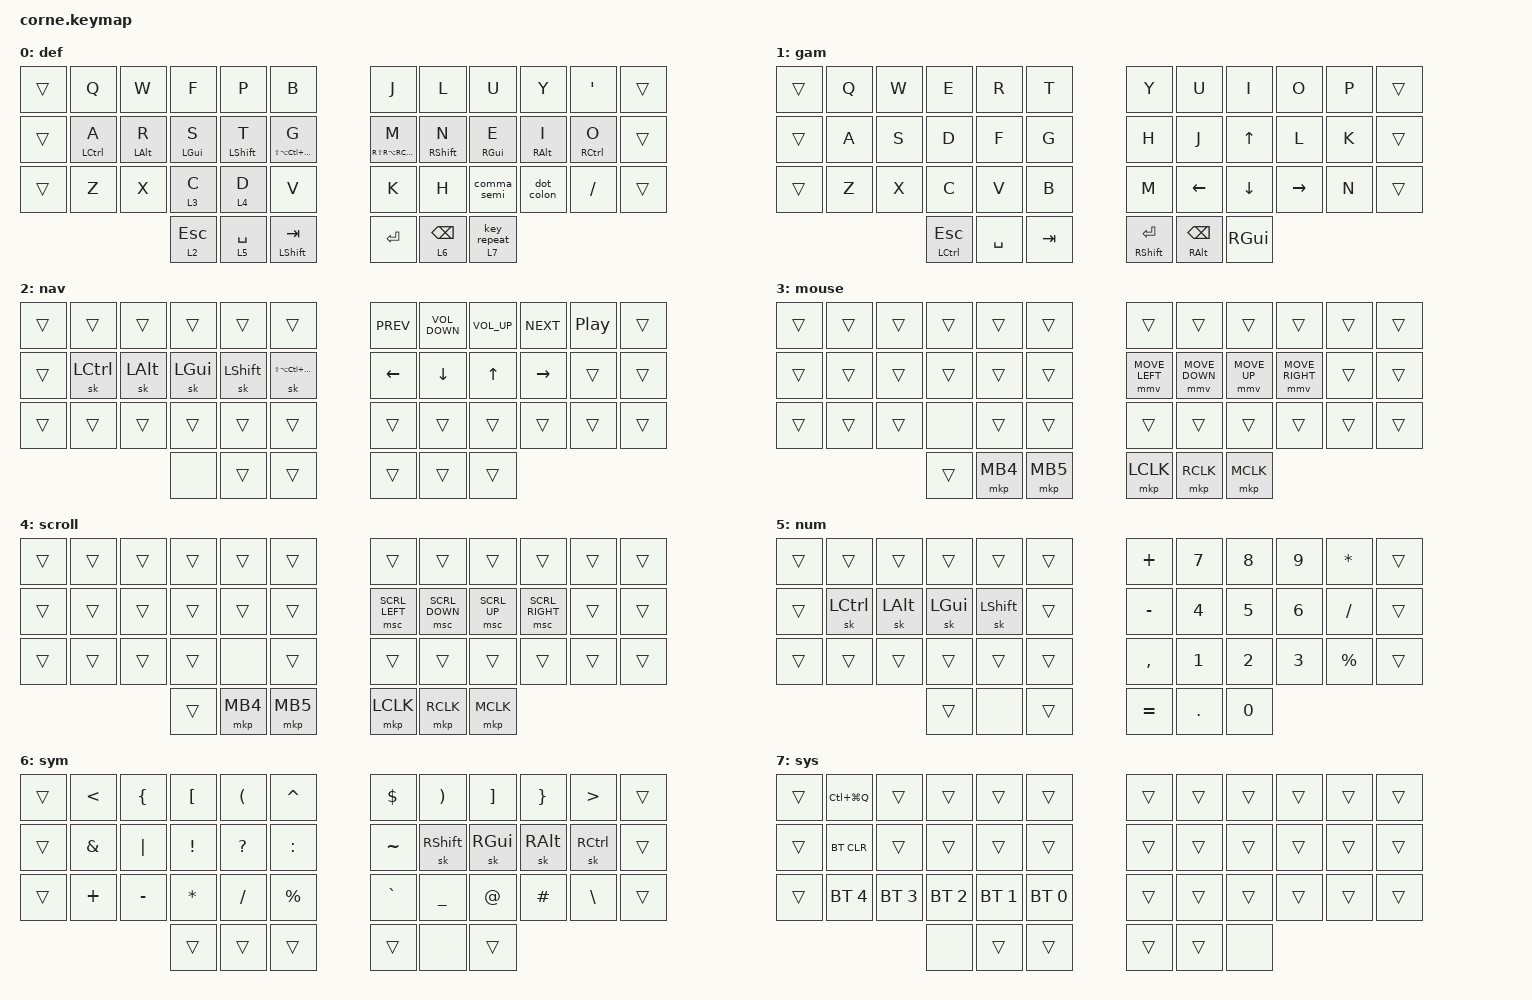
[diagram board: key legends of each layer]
/*
 * Copyright (c) 2020 The ZMK Contributors
 *
 * SPDX-License-Identifier: MIT
 */

#define ZMK_POINTING_DEFAULT_MOVE_VAL 2000
#define ZMK_POINTING_DEFAULT_SCRL_VAL 12

#include <behaviors.dtsi>
#include <dt-bindings/zmk/bt.h>
#include <dt-bindings/zmk/keys.h>
#include <dt-bindings/zmk/pointing.h>

&sk {
    release-after-ms = <900>;
    quick-release;
};

&sl { ignore-modifiers; };

&lt {
    flavor = "balanced";
    tapping-term-ms = <200>;
    quick-tap-ms = <175>;
};

&mmv {
    x-input-code = <INPUT_REL_X>;
    y-input-code = <INPUT_REL_Y>;
    time-to-max-speed-ms = <500>;
    acceleration-exponent = <1>;
};

/ {
    combos {
        compatible = "zmk,combos";

        capsword {
            bindings = <&caps_word>;
            key-positions = <16 19>;
            layers = <0>;
            timeout-ms = <24>;
            require-prior-idle-ms = <150>;
        };

        toggle_gam {
            bindings = <&tog 1>;
            key-positions = <37 40>;
            layers = <0 1>;
            timeout-ms = <24>;
            require-prior-idle-ms = <150>;
        };

        undo {
            bindings = <&kp LG(Z)>;
            key-positions = <25 26>;
            timeout-ms = <24>;
            require-prior-idle-ms = <150>;
            layers = <0>;
        };

        copy {
            bindings = <&kp LG(C)>;
            key-positions = <26 27>;
            timeout-ms = <24>;
            require-prior-idle-ms = <150>;
            layers = <0>;
        };

        paste {
            bindings = <&kp LG(V)>;
            key-positions = <28 27>;
            require-prior-idle-ms = <150>;
            layers = <0>;
            timeout-ms = <24>;
        };

        cut {
            bindings = <&kp LG(X)>;
            key-positions = <28 26>;
            timeout-ms = <24>;
            require-prior-idle-ms = <150>;
            layers = <0>;
        };
    };

    behaviors {
        hml: hml {
            compatible = "zmk,behavior-hold-tap";
            label = "Home row mod (left hand)";
            bindings = <&kp>, <&kp>;

            #binding-cells = <2>;
            tapping-term-ms = <280>;
            quick-tap-ms = <175>;
            require-prior-idle-ms = <150>;
            flavor = "balanced";
            hold-trigger-key-positions = <6 7 8 9 10 11 18 19 20 21 22 23 30 31 32 33 34 35 36 37 38 39 40 41>;
            hold-trigger-on-release;
        };

        hmr: hmr {
            compatible = "zmk,behavior-hold-tap";
            label = "Home row mod (right hand)";
            bindings = <&kp>, <&kp>;

            #binding-cells = <2>;
            tapping-term-ms = <280>;
            quick-tap-ms = <175>;
            require-prior-idle-ms = <150>;
            flavor = "balanced";
            hold-trigger-key-positions = <0 1 2 3 4 5 12 13 14 15 16 17 24 25 26 27 28 29 36 37 38 39 40 41>;
            hold-trigger-on-release;
        };

        comma_semi: comma_semi {
            compatible = "zmk,behavior-mod-morph";
            label = "COMMA_SEMI";
            bindings = <&kp COMMA>, <&kp SEMI>;

            #binding-cells = <0>;
            mods = <(MOD_LSFT|MOD_RSFT)>;
        };

        dot_colon: dot_colon {
            compatible = "zmk,behavior-mod-morph";
            label = "DOT_COLON";
            bindings = <&kp DOT>, <&kp COLON>;

            #binding-cells = <0>;
            mods = <(MOD_LSFT|MOD_RSFT)>;
        };

        mo_repeat: mo_repeat {
            compatible = "zmk,behavior-hold-tap";
            label = "MO_REPEAT";
            bindings = <&mo>, <&key_repeat>;

            #binding-cells = <2>;
            tapping-term-ms = <200>;
            quick-tap-ms = <175>;
            flavor = "balanced";
        };

        hmls: hmls {
            compatible = "zmk,behavior-hold-tap";
            label = "Home row mod (shift only, left hand)";
            bindings = <&kp>, <&kp>;

            #binding-cells = <2>;
            tapping-term-ms = <200>;
            quick-tap-ms = <175>;
            require-prior-idle-ms = <140>;
            flavor = "balanced";
            hold-trigger-key-positions = <6 7 8 9 10 11 18 19 20 21 22 23 30 31 32 33 34 35 36 37 38 39 40 41>;
            hold-trigger-on-release;
        };

        hmrs: hmrs {
            compatible = "zmk,behavior-hold-tap";
            label = "Home row mod (shift only, right hand)";
            bindings = <&kp>, <&kp>;

            #binding-cells = <2>;
            tapping-term-ms = <200>;
            quick-tap-ms = <175>;
            require-prior-idle-ms = <140>;
            flavor = "balanced";
            hold-trigger-key-positions = <0 1 2 3 4 5 12 13 14 15 16 17 24 25 26 27 28 29 36 37 38 39 40 41>;
            hold-trigger-on-release;
        };
    };

    keymap {
        compatible = "zmk,keymap";

        def {
            label = "def";
            bindings = <
&trans  &kp Q         &kp W        &kp F        &kp P           &kp B                          &kp J                        &kp L            &kp U           &kp Y        &kp SINGLE_QUOTE  &trans
&trans  &hml LCTRL A  &hml LALT R  &hml LGUI S  &hmls LSHIFT T  &hml LS(LA(LC(LG(LGUI)))) G    &hmr RS(RA(RC(RG(RGUI)))) M  &hmrs RSHFT N    &hmr RGUI E     &hmr RALT I  &hmr RCTRL O      &trans
&trans  &kp Z         &kp X        &lt 3 C      &lt 4 D         &kp V                          &kp K                        &kp H            &comma_semi     &dot_colon   &kp SLASH         &trans
                                   &lt 2 ESC    &lt 5 SPACE     &mt LSHIFT TAB                 &kp ENTER                    &lt 6 BACKSPACE  &mo_repeat 7 0
            >;
        };

        gam {
            label = "gam";
            bindings = <
&trans  &kp Q  &kp W  &kp E          &kp R      &kp T      &kp Y             &kp U               &kp I     &kp O      &kp P  &trans
&trans  &kp A  &kp S  &kp D          &kp F      &kp G      &kp H             &kp J               &kp UP    &kp L      &kp K  &trans
&trans  &kp Z  &kp X  &kp C          &kp V      &kp B      &kp M             &kp LEFT            &kp DOWN  &kp RIGHT  &kp N  &trans
                      &mt LCTRL ESC  &kp SPACE  &kp TAB    &mt RSHIFT ENTER  &mt RALT BACKSPACE  &kp RGUI
            >;
        };

        nav {
            label = "nav";
            bindings = <
&trans  &trans     &trans    &trans    &trans      &trans                      &kp C_PREV  &kp C_VOLUME_DOWN  &kp C_VOLUME_UP  &kp C_NEXT  &kp C_PLAY_PAUSE  &trans
&trans  &sk LCTRL  &sk LALT  &sk LGUI  &sk LSHIFT  &sk LS(LA(LC(LG(LGUI))))    &kp LEFT    &kp DOWN           &kp UP           &kp RIGHT   &trans            &trans
&trans  &trans     &trans    &trans    &trans      &trans                      &trans      &trans             &trans           &trans      &trans            &trans
                             &none     &trans      &trans                      &trans      &trans             &trans
            >;
        };

        mouse {
            bindings = <
&trans  &trans  &trans  &trans  &trans    &trans      &trans          &trans          &trans        &trans           &trans  &trans
&trans  &trans  &trans  &trans  &trans    &trans      &mmv MOVE_LEFT  &mmv MOVE_DOWN  &mmv MOVE_UP  &mmv MOVE_RIGHT  &trans  &trans
&trans  &trans  &trans  &none   &trans    &trans      &trans          &trans          &trans        &trans           &trans  &trans
                        &trans  &mkp MB4  &mkp MB5    &mkp LCLK       &mkp RCLK       &mkp MCLK
            >;
        };

        scroll {
            bindings = <
&trans  &trans  &trans  &trans  &trans    &trans      &trans          &trans          &trans        &trans           &trans  &trans
&trans  &trans  &trans  &trans  &trans    &trans      &msc SCRL_LEFT  &msc SCRL_DOWN  &msc SCRL_UP  &msc SCRL_RIGHT  &trans  &trans
&trans  &trans  &trans  &trans  &none     &trans      &trans          &trans          &trans        &trans           &trans  &trans
                        &trans  &mkp MB4  &mkp MB5    &mkp LCLK       &mkp RCLK       &mkp MCLK
            >;
        };

        num {
            label = "num";
            bindings = <
&trans  &trans     &trans    &trans    &trans     &trans    &kp PLUS   &kp N7   &kp N8  &kp N9  &kp ASTERISK  &trans
&trans  &sk LCTRL  &sk LALT  &sk LGUI  &sk LSHFT  &trans    &kp MINUS  &kp N4   &kp N5  &kp N6  &kp FSLH      &trans
&trans  &trans     &trans    &trans    &trans     &trans    &kp COMMA  &kp N1   &kp N2  &kp N3  &kp PERCENT   &trans
                             &trans    &none      &trans    &kp EQUAL  &kp DOT  &kp N0
            >;
        };

        sym {
            label = "sym";
            bindings = <
&trans  &kp LESS_THAN  &kp LEFT_BRACE  &kp LBKT         &kp LEFT_PARENTHESIS  &kp CARET      &kp DOLLAR  &kp RIGHT_PARENTHESIS  &kp RBKT  &kp RIGHT_BRACE  &kp GREATER_THAN  &trans
&trans  &kp AMPERSAND  &kp PIPE        &kp EXCLAMATION  &kp QUESTION          &kp COLON      &kp TILDE   &sk RSHFT              &sk RGUI  &sk RALT         &sk RCTRL         &trans
&trans  &kp PLUS       &kp MINUS       &kp ASTERISK     &kp SLASH             &kp PERCENT    &kp GRAVE   &kp UNDER              &kp AT    &kp HASH         &kp BSLH          &trans
                                       &trans           &trans                &trans         &trans      &none                  &trans
            >;
        };

        sys {
            label = "sys";
            bindings = <
&trans  &kp LC(LG(Q))  &trans        &trans        &trans        &trans          &trans  &trans  &trans  &trans  &trans  &trans
&trans  &bt BT_CLR     &trans        &trans        &trans        &trans          &trans  &trans  &trans  &trans  &trans  &trans
&trans  &bt BT_SEL 4   &bt BT_SEL 3  &bt BT_SEL 2  &bt BT_SEL 1  &bt BT_SEL 0    &trans  &trans  &trans  &trans  &trans  &trans
                                     &none         &trans        &trans          &trans  &trans  &none
            >;
        };
    };

    conditional_layers { compatible = "zmk,conditional-layers"; };
};
